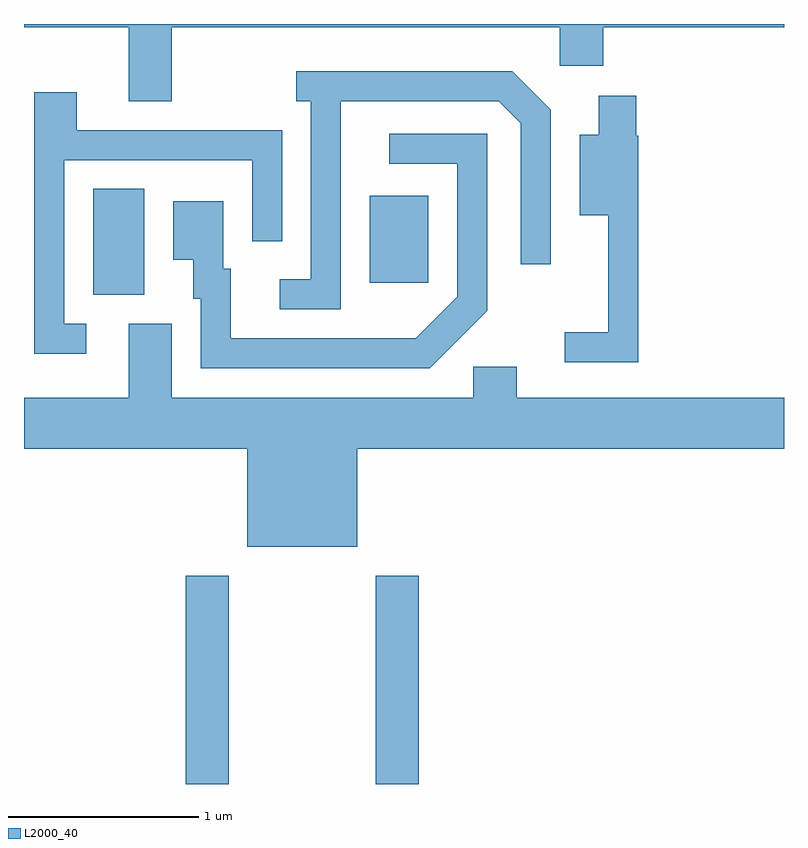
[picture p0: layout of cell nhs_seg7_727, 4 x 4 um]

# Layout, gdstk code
import gdstk
lib = gdstk.Library(unit=1e-6, precision=1e-09)
def R(c, l, rs):  # rectangles x0, y0, x1, y1
    for r in rs: c.add(gdstk.rectangle(r[:2], r[2:], *l))
def P(c, l, *ps):  # polygons
    for p in ps: c.add(gdstk.Polygon(p, *l))
L2000_40 = (2000, 40)

nhs_seg7_727 = lib.new_cell('nhs_seg7_727')
R(nhs_seg7_727, L2000_40, [(206.461,1790.252,206.689,1791.349), (207.461,1790.252,207.689,1791.349), (205.976,1792.826,206.244,1793.384), (207.431,1792.891,207.739,1793.349)])
P(nhs_seg7_727, L2000_40, [(206.389,1794.236),(208.431,1794.236),(208.431,1794.031),(208.659,1794.031),(208.659,1794.236),(209.611,1794.236),(209.611,1794.252),(205.611,1794.252),(205.611,1794.236),(206.161,1794.236),(206.161,1793.846),(206.389,1793.846)],
  [(207.279,1793.846),(208.109,1793.846),(208.226,1793.729),(208.226,1792.988),(208.384,1792.988),(208.384,1793.802),(208.182,1794.004),(207.043,1794.004),(207.043,1793.846),(207.121,1793.846),(207.121,1792.909),(206.958,1792.909),(206.958,1792.751),(207.279,1792.751)],
  [(205.938,1792.674),(205.824,1792.674),(205.824,1793.536),(206.811,1793.536),(206.811,1793.108),(206.969,1793.108),(206.969,1793.694),(205.889,1793.694),(205.889,1793.894),(205.666,1793.894),(205.666,1792.516),(205.938,1792.516)],
  [(208.844,1793.665),(208.834,1793.665),(208.834,1793.874),(208.636,1793.874),(208.636,1793.669),(208.536,1793.669),(208.536,1793.246),(208.686,1793.246),(208.686,1792.629),(208.458,1792.629),(208.458,1792.471),(208.844,1792.471)],
  [(208.049,1792.744),(208.049,1793.674),(207.533,1793.674),(207.533,1793.516),(207.891,1793.516),(207.891,1792.817),(207.674,1792.599),(206.699,1792.599),(206.699,1792.964),(206.659,1792.964),(206.659,1793.319),(206.396,1793.319),(206.396,1793.011),(206.501,1793.011),(206.501,1792.806),(206.541,1792.806),(206.541,1792.441),(207.747,1792.441)],
  [(207.364,1792.016),(209.611,1792.016),(209.611,1792.284),(208.204,1792.284),(208.204,1792.449),(207.976,1792.449),(207.976,1792.284),(206.389,1792.284),(206.389,1792.674),(206.161,1792.674),(206.161,1792.284),(205.611,1792.284),(205.611,1792.016),(206.786,1792.016),(206.786,1791.501),(207.364,1791.501)])

lib.write_gds('nhs_seg7_727.gds')
